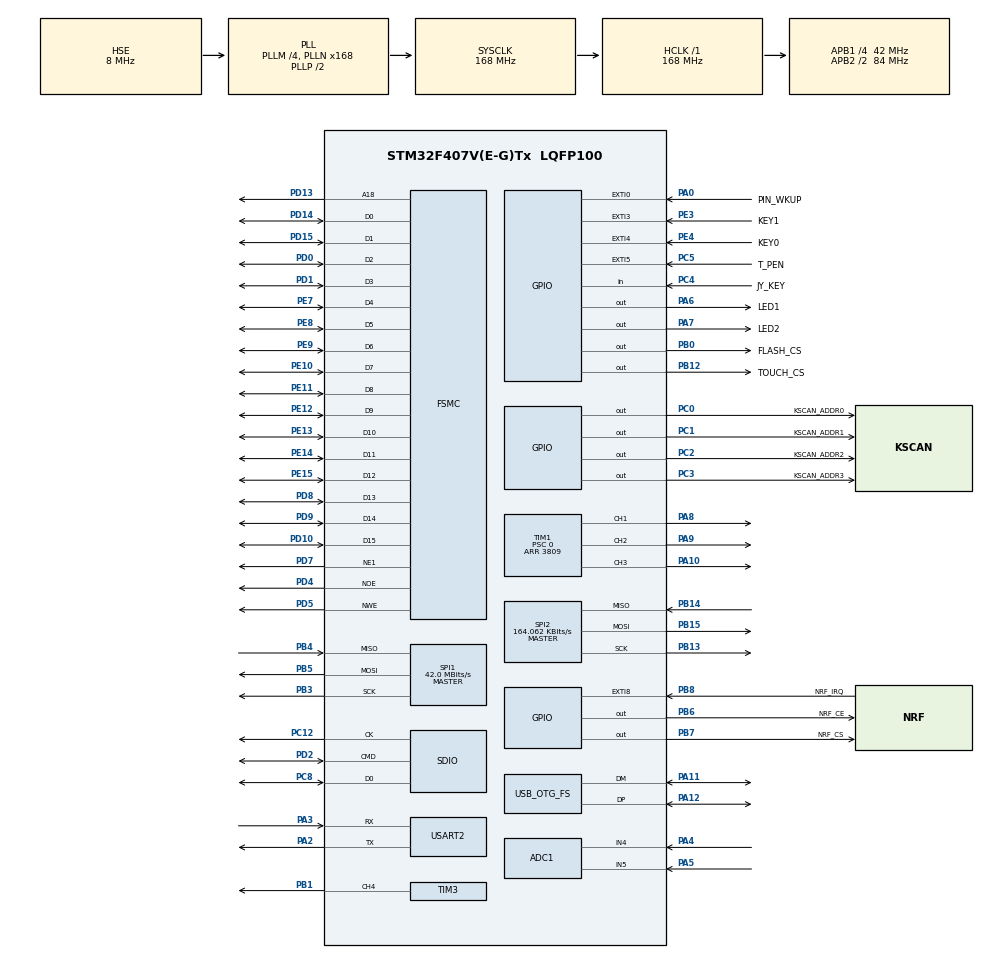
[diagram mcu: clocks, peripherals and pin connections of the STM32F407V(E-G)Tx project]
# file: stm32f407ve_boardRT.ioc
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ADC1.Channel-6\#ChannelRegularConversion=ADC_CHANNEL_4
ADC1.Channel-7\#ChannelRegularConversion=ADC_CHANNEL_5
ADC1.Channel-8\#ChannelRegularConversion=ADC_CHANNEL_TEMPSENSOR
ADC1.Channel-9\#ChannelRegularConversion=ADC_CHANNEL_VREFINT
ADC1.ClockPrescaler=ADC_CLOCK_SYNC_PCLK_DIV8
ADC1.ContinuousConvMode=ENABLE
ADC1.DMAContinuousRequests=ENABLE
ADC1.EOCSelection=ADC_EOC_SEQ_CONV
ADC1.NbrOfConversion=4
ADC1.NbrOfConversionFlag=1
ADC1.Rank-6\#ChannelRegularConversion=1
ADC1.Rank-7\#ChannelRegularConversion=2
ADC1.Rank-8\#ChannelRegularConversion=3
ADC1.Rank-9\#ChannelRegularConversion=4
ADC1.SamplingTime-6\#ChannelRegularConversion=ADC_SAMPLETIME_480CYCLES
ADC1.SamplingTime-7\#ChannelRegularConversion=ADC_SAMPLETIME_480CYCLES
ADC1.SamplingTime-8\#ChannelRegularConversion=ADC_SAMPLETIME_480CYCLES
ADC1.SamplingTime-9\#ChannelRegularConversion=ADC_SAMPLETIME_480CYCLES
ADC1.master=1
Dma.ADC1.0.Direction=DMA_PERIPH_TO_MEMORY
Dma.ADC1.0.FIFOMode=DMA_FIFOMODE_DISABLE
Dma.ADC1.0.Instance=DMA2_Stream0
Dma.ADC1.0.MemDataAlignment=DMA_MDATAALIGN_HALFWORD
Dma.ADC1.0.MemInc=DMA_MINC_ENABLE
Dma.ADC1.0.Mode=DMA_CIRCULAR
Dma.ADC1.0.PeriphDataAlignment=DMA_PDATAALIGN_HALFWORD
Dma.ADC1.0.PeriphInc=DMA_PINC_DISABLE
Dma.ADC1.0.Priority=DMA_PRIORITY_LOW
Dma.Request0=ADC1
Dma.Request1=TIM1_CH1
Dma.Request2=TIM1_CH2
Dma.TIM1_CH1.1.Direction=DMA_MEMORY_TO_PERIPH
Dma.TIM1_CH1.1.FIFOMode=DMA_FIFOMODE_DISABLE
Dma.TIM1_CH1.1.Instance=DMA2_Stream1
Dma.TIM1_CH1.1.MemDataAlignment=DMA_MDATAALIGN_HALFWORD
Dma.TIM1_CH1.1.MemInc=DMA_MINC_ENABLE
Dma.TIM1_CH1.1.Mode=DMA_CIRCULAR
Dma.TIM1_CH1.1.PeriphDataAlignment=DMA_PDATAALIGN_HALFWORD
Dma.TIM1_CH1.1.PeriphInc=DMA_PINC_DISABLE
Dma.TIM1_CH1.1.Priority=DMA_PRIORITY_HIGH
Dma.TIM1_CH2.2.Direction=DMA_MEMORY_TO_PERIPH
Dma.TIM1_CH2.2.FIFOMode=DMA_FIFOMODE_DISABLE
Dma.TIM1_CH2.2.Instance=DMA2_Stream2
Dma.TIM1_CH2.2.MemDataAlignment=DMA_MDATAALIGN_HALFWORD
Dma.TIM1_CH2.2.MemInc=DMA_MINC_ENABLE
Dma.TIM1_CH2.2.Mode=DMA_CIRCULAR
Dma.TIM1_CH2.2.PeriphDataAlignment=DMA_PDATAALIGN_HALFWORD
Dma.TIM1_CH2.2.PeriphInc=DMA_PINC_DISABLE
Dma.TIM1_CH2.2.Priority=DMA_PRIORITY_HIGH
FATFS._FS_EXFAT=0
FATFS._FS_RPATH=1
FATFS._USE_FORWARD=0
FATFS._USE_LFN=2
FSMC.AccessMode1=FSMC_ACCESS_MODE_A
FSMC.AddressSetupTime1=1
FSMC.BusTurnAroundDuration1=0
FSMC.DataSetupTime1=15
FSMC.ExtendedAddressSetupTime1=2
FSMC.ExtendedBusTurnAroundDuration1=0
FSMC.ExtendedDataSetupTime1=5
FSMC.ExtendedMode1=FSMC_EXTENDED_MODE_ENABLE
Mcu.Family=STM32F4
Mcu.Name=STM32F407V(E-G)Tx
Mcu.Package=LQFP100
NVIC.DMA2_Stream0_IRQn=true\:0\:0\:true\:true\:true\:1\:false
NVIC.DMA2_Stream1_IRQn=true\:0\:0\:false\:true\:true\:2\:false
NVIC.DMA2_Stream2_IRQn=true\:0\:0\:false\:true\:true\:3\:false
NVIC.EXTI0_IRQn=true\:0\:0\:true\:false\:true\:true
NVIC.EXTI3_IRQn=true\:0\:0\:true\:false\:true\:true
NVIC.EXTI4_IRQn=true\:0\:0\:true\:false\:true\:true
NVIC.EXTI9_5_IRQn=true\:0\:0\:true\:false\:true\:true
NVIC.OTG_FS_IRQn=true\:0\:0\:true\:false\:true\:false
NVIC.PriorityGroup=NVIC_PRIORITYGROUP_4
NVIC.SDIO_IRQn=true\:0\:0\:false\:false\:true\:true
NVIC.TIM2_IRQn=true\:0\:0\:false\:false\:true\:false
NVIC.TIM3_IRQn=true\:0\:0\:true\:true\:true\:4\:true
NVIC.TimeBase=TIM2_IRQn
NVIC.TimeBaseIP=TIM2
PA0-WKUP.GPIO_Label=PIN_WKUP
PA0-WKUP.GPIO_PuPd=GPIO_PULLDOWN
PA0-WKUP.Signal=GPXTI0
PA10.Signal=S_TIM1_CH3
PA11.Mode=Device_Only
PA11.Signal=USB_OTG_FS_DM
PA12.Mode=Device_Only
PA12.Signal=USB_OTG_FS_DP
PA13.Mode=Serial_Wire
PA13.Signal=SYS_JTMS-SWDIO
PA14.Mode=Serial_Wire
PA14.Signal=SYS_JTCK-SWCLK
PA2.Mode=Asynchronous
PA2.Signal=USART2_TX
PA3.Mode=Asynchronous
PA3.Signal=USART2_RX
PA4.Signal=ADCx_IN4
PA5.Signal=ADCx_IN5
PA6.GPIO_Label=LED1
PA6.GPIO_ModeDefaultOutputPP=GPIO_MODE_OUTPUT_OD
PA6.Signal=GPIO_Output
PA7.GPIO_Label=LED2
PA7.GPIO_ModeDefaultOutputPP=GPIO_MODE_OUTPUT_OD
PA7.Signal=GPIO_Output
PA8.Signal=S_TIM1_CH1
PA9.Signal=S_TIM1_CH2
PB0.GPIO_Label=FLASH_CS
PB0.Signal=GPIO_Output
PB1.Signal=S_TIM3_CH4
PB12.GPIO_Label=TOUCH_CS
PB12.GPIO_Speed=GPIO_SPEED_FREQ_VERY_HIGH
PB12.PinState=GPIO_PIN_SET
PB12.Signal=GPIO_Output
PB13.Mode=Full_Duplex_Master
PB13.Signal=SPI2_SCK
PB14.Mode=Full_Duplex_Master
PB14.Signal=SPI2_MISO
PB15.Mode=Full_Duplex_Master
PB15.Signal=SPI2_MOSI
PB3.Mode=Full_Duplex_Master
PB3.Signal=SPI1_SCK
PB4.Mode=Full_Duplex_Master
PB4.Signal=SPI1_MISO
PB5.Mode=Full_Duplex_Master
PB5.Signal=SPI1_MOSI
PB6.GPIO_Label=NRF_CE
PB6.Signal=GPIO_Output
PB7.GPIO_Label=NRF_CS
PB7.Signal=GPIO_Output
PB8.GPIO_Label=NRF_IRQ
PB8.GPIO_ModeDefaultEXTI=GPIO_MODE_IT_FALLING
PB8.GPIO_PuPd=GPIO_PULLUP
PB8.Signal=GPXTI8
PC0.GPIO_Label=KSCAN_ADDR0
PC0.PinState=GPIO_PIN_SET
PC0.Signal=GPIO_Output
PC1.GPIO_Label=KSCAN_ADDR1
PC1.PinState=GPIO_PIN_SET
PC1.Signal=GPIO_Output
PC12.Mode=SD_1_bit
PC12.Signal=SDIO_CK
PC14-OSC32_IN.Mode=LSE-External-Oscillator
PC14-OSC32_IN.Signal=RCC_OSC32_IN
PC15-OSC32_OUT.Mode=LSE-External-Oscillator
PC15-OSC32_OUT.Signal=RCC_OSC32_OUT
PC2.GPIO_Label=KSCAN_ADDR2
PC2.PinState=GPIO_PIN_SET
PC2.Signal=GPIO_Output
PC3.GPIO_Label=KSCAN_ADDR3
PC3.PinState=GPIO_PIN_SET
PC3.Signal=GPIO_Output
PC4.GPIO_Label=JY_KEY
PC4.GPIO_PuPd=GPIO_PULLUP
PC4.Signal=GPIO_Input
PC5.GPIO_Label=T_PEN
PC5.GPIO_ModeDefaultEXTI=GPIO_MODE_IT_FALLING
PC5.GPIO_PuPd=GPIO_PULLUP
PC5.Signal=GPXTI5
PC8.Mode=SD_1_bit
PC8.Signal=SDIO_D0
PD0.GPIO_Speed_High_Default=GPIO_SPEED_FREQ_HIGH
PD0.Mode=16b-d1
PD0.Signal=FSMC_D2
PD1.GPIO_Speed_High_Default=GPIO_SPEED_FREQ_HIGH
PD1.Mode=16b-d1
PD1.Signal=FSMC_D3
PD10.GPIO_Speed_High_Default=GPIO_SPEED_FREQ_HIGH
PD10.Mode=16b-d1
PD10.Signal=FSMC_D15
PD13.GPIO_Speed_High_Default=GPIO_SPEED_FREQ_HIGH
PD13.Mode=A18_1
PD13.Signal=FSMC_A18
PD14.GPIO_Speed_High_Default=GPIO_SPEED_FREQ_HIGH
PD14.Mode=16b-d1
PD14.Signal=FSMC_D0
PD15.GPIO_Speed_High_Default=GPIO_SPEED_FREQ_HIGH
PD15.Mode=16b-d1
PD15.Signal=FSMC_D1
PD2.Mode=SD_1_bit
PD2.Signal=SDIO_CMD
PD4.GPIO_Speed_High_Default=GPIO_SPEED_FREQ_HIGH
PD4.Mode=Lcd1
PD4.Signal=FSMC_NOE
PD5.GPIO_Speed_High_Default=GPIO_SPEED_FREQ_HIGH
PD5.Mode=Lcd1
PD5.Signal=FSMC_NWE
PD7.GPIO_Speed_High_Default=GPIO_SPEED_FREQ_HIGH
PD7.Mode=NorPsramChipSelect1_1
PD7.Signal=FSMC_NE1
PD8.GPIO_Speed_High_Default=GPIO_SPEED_FREQ_HIGH
PD8.Mode=16b-d1
PD8.Signal=FSMC_D13
PD9.GPIO_Speed_High_Default=GPIO_SPEED_FREQ_HIGH
PD9.Mode=16b-d1
PD9.Signal=FSMC_D14
PE10.GPIO_Speed_High_Default=GPIO_SPEED_FREQ_HIGH
PE10.Mode=16b-d1
PE10.Signal=FSMC_D7
PE11.GPIO_Speed_High_Default=GPIO_SPEED_FREQ_HIGH
PE11.Mode=16b-d1
PE11.Signal=FSMC_D8
PE12.GPIO_Speed_High_Default=GPIO_SPEED_FREQ_HIGH
PE12.Mode=16b-d1
PE12.Signal=FSMC_D9
PE13.GPIO_Speed_High_Default=GPIO_SPEED_FREQ_HIGH
PE13.Mode=16b-d1
PE13.Signal=FSMC_D10
PE14.GPIO_Speed_High_Default=GPIO_SPEED_FREQ_HIGH
PE14.Mode=16b-d1
PE14.Signal=FSMC_D11
PE15.GPIO_Speed_High_Default=GPIO_SPEED_FREQ_HIGH
PE15.Mode=16b-d1
PE15.Signal=FSMC_D12
PE3.GPIO_Label=KEY1
PE3.GPIO_ModeDefaultEXTI=GPIO_MODE_IT_FALLING
PE3.GPIO_PuPd=GPIO_PULLUP
PE3.Signal=GPXTI3
PE4.GPIO_Label=KEY0
PE4.GPIO_ModeDefaultEXTI=GPIO_MODE_IT_FALLING
PE4.GPIO_PuPd=GPIO_PULLUP
PE4.Signal=GPXTI4
PE7.GPIO_Speed_High_Default=GPIO_SPEED_FREQ_HIGH
PE7.Mode=16b-d1
PE7.Signal=FSMC_D4
PE8.GPIO_Speed_High_Default=GPIO_SPEED_FREQ_HIGH
PE8.Mode=16b-d1
PE8.Signal=FSMC_D5
PE9.GPIO_Speed_High_Default=GPIO_SPEED_FREQ_HIGH
PE9.Mode=16b-d1
PE9.Signal=FSMC_D6
PH0-OSC_IN.Mode=HSE-External-Oscillator
PH0-OSC_IN.Signal=RCC_OSC_IN
PH1-OSC_OUT.Mode=HSE-External-Oscillator
PH1-OSC_OUT.Signal=RCC_OSC_OUT
ProjectManager.HeapSize=0x200
ProjectManager.StackSize=0x400
ProjectManager.TargetToolchain=SW4STM32
RCC.48MHZClocksFreq_Value=48000000
RCC.AHBFreq_Value=168000000
RCC.APB1CLKDivider=RCC_HCLK_DIV4
RCC.APB1Freq_Value=42000000
RCC.APB1TimFreq_Value=84000000
RCC.APB2CLKDivider=RCC_HCLK_DIV2
RCC.APB2Freq_Value=84000000
RCC.APB2TimFreq_Value=168000000
RCC.CortexFreq_Value=168000000
RCC.HCLKFreq_Value=168000000
RCC.HSE_VALUE=8000000
RCC.HSI_VALUE=16000000
RCC.PLLM=4
RCC.PLLN=168
RCC.PLLQ=7
RCC.RCC_RTC_Clock_Source=RCC_RTCCLKSOURCE_LSE
RCC.RCC_RTC_Clock_SourceVirtual=RCC_RTCCLKSOURCE_LSE
RCC.SYSCLKFreq_VALUE=168000000
RCC.SYSCLKSource=RCC_SYSCLKSOURCE_PLLCLK
RCC.VCOOutputFreq_Value=336000000
SDIO.ClockBypass=SDIO_CLOCK_BYPASS_DISABLE
SDIO.ClockDiv=8
SDIO.HardwareFlowControl=SDIO_HARDWARE_FLOW_CONTROL_ENABLE
SH.ADCx_IN4.0=ADC1_IN4,IN4
SH.ADCx_IN5.0=ADC1_IN5,IN5
SH.S_TIM1_CH1.0=TIM1_CH1,PWM Generation1 CH1
SH.S_TIM1_CH2.0=TIM1_CH2,PWM Generation2 CH2
SH.S_TIM1_CH3.0=TIM1_CH3,PWM Generation3 CH3
SH.S_TIM3_CH4.0=TIM3_CH4,PWM Generation4 CH4
SPI1.CalculateBaudRate=42.0 MBits/s
SPI1.Direction=SPI_DIRECTION_2LINES
SPI1.Mode=SPI_MODE_MASTER
SPI1.VirtualType=VM_MASTER
SPI2.BaudRatePrescaler=SPI_BAUDRATEPRESCALER_256
SPI2.CalculateBaudRate=164.062 KBits/s
SPI2.Direction=SPI_DIRECTION_2LINES
SPI2.Mode=SPI_MODE_MASTER
SPI2.VirtualType=VM_MASTER
TIM1.Channel-PWM\ Generation1\ CH1=TIM_CHANNEL_1
TIM1.Channel-PWM\ Generation2\ CH2=TIM_CHANNEL_2
TIM1.Channel-PWM\ Generation3\ CH3=TIM_CHANNEL_3
TIM1.Period=3809
TIM1.Prescaler=0
TIM3.Channel-PWM\ Generation4\ CH4=TIM_CHANNEL_4
TIM3.Period=1000-1
TIM3.Prescaler=84-1
TIM3.Pulse-PWM\ Generation4\ CH4=500-1
USART2.VirtualMode=VM_ASYNC
USB_DEVICE.CLASS_NAME_FS=MSC
USB_DEVICE.VirtualMode-MSC_FS=Msc
USB_DEVICE.VirtualModeFS=Msc_FS
USB_OTG_FS.VirtualMode=Device_Only
VP_ADC1_TempSens_Input.Mode=IN-TempSens
VP_ADC1_Vref_Input.Mode=IN-Vrefint
VP_FATFS_VS_SDIO.Mode=SDIO
VP_RTC_VS_RTC_Activate.Mode=RTC_Enabled
VP_RTC_VS_RTC_Calendar.Mode=RTC_Calendar
VP_SYS_VS_tim2.Mode=TIM2
VP_TIM1_VS_ClockSourceINT.Mode=Internal
VP_TIM3_VS_ClockSourceINT.Mode=Internal
VP_USB_DEVICE_VS_USB_DEVICE_MSC_FS.Mode=MSC_FS
board=stm32f407ve_board

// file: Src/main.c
/* USER CODE BEGIN Header */
/**
  ******************************************************************************
  * @file           : main.c
  * @brief          : Main program body
  ******************************************************************************
  * This notice applies to any and all portions of this file
  * that are not between comment pairs USER CODE BEGIN and
  * USER CODE END. Other portions of this file, whether
  * inserted by the user or by software development tools
  * are owned by their respective copyright owners.
  *
  * Copyright (c) 2019 STMicroelectronics International N.V.
  * All rights reserved.
  *
  * Redistribution and use in source and binary forms, with or without
  * modification, are permitted, provided that the following conditions are met:
  *
  * 1. Redistribution of source code must retain the above copyright notice,
  *    this list of conditions and the following disclaimer.
  * 2. Redistributions in binary form must reproduce the above copyright notice,
  *    this list of conditions and the following disclaimer in the documentation
  *    and/or other materials provided with the distribution.
  * 3. Neither the name of STMicroelectronics nor the names of other
  *    contributors to this software may be used to endorse or promote products
  *    derived from this software without specific written permission.
  * 4. This software, including modifications and/or derivative works of this
  *    software, must execute solely and exclusively on microcontroller or
  *    microprocessor devices manufactured by or for STMicroelectronics.
  * 5. Redistribution and use of this software other than as permitted under
  *    this license is void and will automatically terminate your rights under
  *    this license.
  *
  * THIS SOFTWARE IS PROVIDED BY STMICROELECTRONICS AND CONTRIBUTORS "AS IS"
  * AND ANY EXPRESS, IMPLIED OR STATUTORY WARRANTIES, INCLUDING, BUT NOT
  * LIMITED TO, THE IMPLIED WARRANTIES OF MERCHANTABILITY, FITNESS FOR A
  * PARTICULAR PURPOSE AND NON-INFRINGEMENT OF THIRD PARTY INTELLECTUAL PROPERTY
  * RIGHTS ARE DISCLAIMED TO THE FULLEST EXTENT PERMITTED BY LAW. IN NO EVENT
  * SHALL STMICROELECTRONICS OR CONTRIBUTORS BE LIABLE FOR ANY DIRECT, INDIRECT,
  * INCIDENTAL, SPECIAL, EXEMPLARY, OR CONSEQUENTIAL DAMAGES (INCLUDING, BUT NOT
  * LIMITED TO, PROCUREMENT OF SUBSTITUTE GOODS OR SERVICES; LOSS OF USE, DATA,
  * OR PROFITS; OR BUSINESS INTERRUPTION) HOWEVER CAUSED AND ON ANY THEORY OF
  * LIABILITY, WHETHER IN CONTRACT, STRICT LIABILITY, OR TORT (INCLUDING
  * NEGLIGENCE OR OTHERWISE) ARISING IN ANY WAY OUT OF THE USE OF THIS SOFTWARE,
  * EVEN IF ADVISED OF THE POSSIBILITY OF SUCH DAMAGE.
  *
  ******************************************************************************
  */
/* USER CODE END Header */

#include "main.h"
#include "fatfs.h"
#include "usb_device.h"

/* USER CODE BEGIN Includes */
#include <stdio.h>
#include <stdarg.h>
#include <string.h>
#include <math.h>
#include "ili9341.h"
#include "tm_stm32f1_nrf24l01.h"

/* USER CODE END Includes */

ADC_HandleTypeDef hadc1;
DMA_HandleTypeDef hdma_adc1;

RTC_HandleTypeDef hrtc;

SD_HandleTypeDef hsd;

SPI_HandleTypeDef hspi1;
SPI_HandleTypeDef hspi2;

TIM_HandleTypeDef htim3;

UART_HandleTypeDef huart2;

SRAM_HandleTypeDef hsram1;

/* USER CODE BEGIN PV */
/* Private variables ---------------------------------------------------------*/
void vprint(const char *fmt, va_list argp)
{
    char string[300];
    if(0 < vsprintf(string,fmt,argp)) // build string
    {
        HAL_UART_Transmit(&huart2, (uint8_t*)string, strlen(string), 0xffffff); // send message via UART
       //CDC_Transmit_FS((uint8_t*)string, strlen(string));
    }
}
void mprintf(const char *fmt, ...) // custom printf() function
{
    va_list argp;
    va_start(argp, fmt);
    vprint(fmt, argp);
    va_end(argp);
}
#define HSAMPLES 4
#define NCHAN    4
struct sADC_BUFF
{
	uint16_t V_UD; // 0.47/1.47
	uint16_t V_LR; // 1.0/2.0
	uint16_t VTEMP;
	uint16_t V_REF;
} ADC_BUFF[HSAMPLES];

uint16_t getADC_UD()
{
	return ADC_BUFF[0].V_UD;
}
uint16_t getADC_LR()
{
	return ADC_BUFF[0].V_LR;
}

#define  SPI2_TIMEOUT 10
void SPI2_SEND(uint8_t* data,int count)
{
	HAL_SPI_Transmit(&hspi2,data,count,SPI2_TIMEOUT);
}
void SPI2_SEND_RECI(uint8_t* data,int count,uint8_t* in_data)
{
	HAL_SPI_TransmitReceive(&hspi2,data,in_data,count,SPI2_TIMEOUT);
}
void setBK_imp(int perc)
{
	__HAL_TIM_SET_COMPARE(&htim3, TIM_CHANNEL_4,(perc*10));
}

volatile uint32_t tim3_intrr  = 0;
volatile uint16_t keyMatrix  = 0;
uint16_t scanJSK()
{
	return keyMatrix;
}
volatile int keyAddLine = 0;
void clearKey()
{
	keyMatrix = 0;
}
void ScanKeyOnTimer3()
{
	tim3_intrr++;
	const uint32_t PORTS[][2] =
	{
		{0,0},
		{KSCAN_ADDR3_GPIO_Port,KSCAN_ADDR3_Pin},
		{KSCAN_ADDR2_GPIO_Port,KSCAN_ADDR2_Pin},
		{KSCAN_ADDR1_GPIO_Port,KSCAN_ADDR1_Pin},
		{KSCAN_ADDR0_GPIO_Port,KSCAN_ADDR0_Pin}
	};
	if(keyAddLine<5)
	{
		int port = PORTS[keyAddLine][0];
		int pin  = PORTS[keyAddLine][1];
		uint16_t mt = 0;
		HAL_GPIO_TogglePin(LED2_GPIO_Port, LED2_Pin);
		if(port) HAL_GPIO_WritePin(port,pin,GPIO_PIN_RESET);
		HAL_GPIO_TogglePin(LED2_GPIO_Port, LED2_Pin);
		mt <<= 1;
		mt|= (HAL_GPIO_ReadPin(KEY1_GPIO_Port, KEY1_Pin)==GPIO_PIN_RESET)?1:0;
		mt <<= 1;
		mt|= (HAL_GPIO_ReadPin(KEY0_GPIO_Port, KEY0_Pin)==GPIO_PIN_RESET)?1:0;

		HAL_GPIO_TogglePin(LED2_GPIO_Port, LED2_Pin);
		if(port) HAL_GPIO_WritePin(port,pin,GPIO_PIN_SET);
		HAL_GPIO_TogglePin(LED2_GPIO_Port, LED2_Pin);

		uint16_t mask = 3<< (keyAddLine*2);
		mt <<=  (keyAddLine*2);

		keyMatrix =(keyMatrix& ~mask)|mt;

	}
	else
	{
		uint16_t mt = 0;
		if(HAL_GPIO_ReadPin(PIN_WKUP_GPIO_Port, PIN_WKUP_Pin))
		{
			mt |=  1;
		}
		mt <<= 1;
		if(!HAL_GPIO_ReadPin(T_PEN_GPIO_Port, T_PEN_Pin))
		{
			mt |=  1;
		}
		uint16_t mask = 3<< (keyAddLine*2);
		mt <<=  (keyAddLine*2);

		keyMatrix =(keyMatrix& ~mask)|mt;

	}

	keyAddLine++;

    if(keyAddLine>=6)
    {
    	keyAddLine = 0;
    }

}
void init_Sinclair();
/* USER CODE END PV */

void SystemClock_Config(void);
static void MX_GPIO_Init(void);
static void MX_DMA_Init(void);
static void MX_RTC_Init(void);
static void MX_SDIO_SD_Init(void);
static void MX_SPI1_Init(void);
static void MX_FSMC_Init(void);
static void MX_SPI2_Init(void);
static void MX_ADC1_Init(void);
static void MX_TIM1_Init(void);
static void MX_USART2_UART_Init(void);
static void MX_TIM3_Init(void);
static void MX_NVIC_Init(void);

/* USER CODE BEGIN 0 */
#define N_SIZE_BITS (11)
#define N_SIZE (1<<N_SIZE_BITS)
#define R_SIZE_BITS (12)
#define R_SIZE (1<<R_SIZE_BITS)

//uint16_t VoiceBuff0s[N_SIZE];

uint16_t VoiceBuff0[N_SIZE];
uint16_t VoiceBuff1[N_SIZE];

uint16_t VoiceBuff0T[R_SIZE];
uint16_t VoiceBuff1T[R_SIZE];

volatile int sound_head = 0;
volatile int sound_tail = 0;

int sound_size()
{
	return (sound_head+R_SIZE-sound_tail)&(R_SIZE-1);
}
int waitFor()
{
	int cntWait = 0;
	while(((sound_head+R_SIZE-sound_tail)&(R_SIZE-1))>R_SIZE/2)
	{
		HAL_Delay(1);
		cntWait++;
	}
	return cntWait;
}
void push_pair(uint16_t Left,uint16_t Right)
{
	//waitFor();
	VoiceBuff0T[sound_head] = Left;
	VoiceBuff1T[sound_head] = Right;
	sound_head = (sound_head+1)&(R_SIZE-1);
}
void cleanAudioBuffer()
{
	waitFor();
	for(int k=0;k<R_SIZE;k++)
	{
#ifdef DAC_OUTPUT
			push_pair(2048,2048);
#else
			push_pair(MAX_VOLUME/2,MAX_VOLUME/2);
#endif
	}
}

void TIM1_TC1()
{
	//cnt0++;
	int k;
	for(k=N_SIZE/2;k<N_SIZE;k++)
	{
		VoiceBuff0[k] = VoiceBuff0T[sound_tail];
		VoiceBuff1[k] = VoiceBuff1T[sound_tail];
		sound_tail = (sound_tail+1)&(R_SIZE-1);
	}
}
void TIM1_HT1()
{
	//cnt1++;
	int k;
	for(k=0;k<N_SIZE/2;k++)
	{
		VoiceBuff0[k] = VoiceBuff0T[sound_tail];
		VoiceBuff1[k] = VoiceBuff1T[sound_tail];
		sound_tail = (sound_tail+1)&(R_SIZE-1);
	}
}
void TIM1_TE1()
{
}
void TIM1_TC2()
{
}
void TIM1_HT2()
{
}
void TIM1_TE2()
{
}

void init_timerLL()
{
	  LL_AHB1_GRP1_EnableClock(LL_AHB1_GRP1_PERIPH_DMA2);
	  LL_DMA_ConfigAddresses(DMA2, LL_DMA_STREAM_1, (uint32_t)&VoiceBuff0[0], (uint32_t)&TIM1->CCR1, LL_DMA_GetDataTransferDirection(DMA2, LL_DMA_STREAM_2));
	  LL_DMA_SetDataLength(DMA2, LL_DMA_STREAM_1, N_SIZE);
	  LL_DMA_EnableIT_TC(DMA2, LL_DMA_STREAM_1);
	  LL_DMA_EnableIT_TE(DMA2, LL_DMA_STREAM_1);
	  LL_DMA_EnableIT_HT(DMA2, LL_DMA_STREAM_1);
	  mprintf("1 \r\n");

	  LL_DMA_ConfigAddresses(DMA2, LL_DMA_STREAM_2, (uint32_t)&VoiceBuff1[0], (uint32_t)&TIM1->CCR2, LL_DMA_GetDataTransferDirection(DMA2, LL_DMA_STREAM_2));
	  LL_DMA_SetDataLength(DMA2, LL_DMA_STREAM_2, N_SIZE);
	  LL_DMA_EnableIT_TC(DMA2, LL_DMA_STREAM_2);
	  LL_DMA_EnableIT_HT(DMA2, LL_DMA_STREAM_2);
	  LL_DMA_EnableIT_TE(DMA2, LL_DMA_STREAM_2);
	  mprintf("2 \r\n");

	  /***************************/
	  /* Enable the DMA transfer */
	  /***************************/
	  LL_DMA_EnableStream(DMA2, LL_DMA_STREAM_1);
	  LL_DMA_EnableStream(DMA2, LL_DMA_STREAM_2);
	  mprintf("3 \r\n");

	  LL_TIM_EnableDMAReq_UPDATE(TIM1);

	  LL_TIM_EnableDMAReq_CC1(TIM1);
	  LL_TIM_EnableDMAReq_CC2(TIM1);

	  mprintf("4 \r\n");
	  LL_TIM_CC_EnableChannel(TIM1, LL_TIM_CHANNEL_CH1);
	  LL_TIM_CC_EnableChannel(TIM1, LL_TIM_CHANNEL_CH2);
	  LL_TIM_CC_EnableChannel(TIM1, LL_TIM_CHANNEL_CH3);

	  LL_TIM_OC_EnablePreload(TIM1, LL_TIM_CHANNEL_CH1);
	  LL_TIM_OC_EnablePreload(TIM1, LL_TIM_CHANNEL_CH2);
	  LL_TIM_CC_EnableChannel(TIM1, LL_TIM_CHANNEL_CH3);

	  mprintf("5 \r\n");
	  LL_TIM_EnableAllOutputs(TIM1);
	  LL_TIM_EnableCounter(TIM1);
	  //~ LL_TIM_EnableDMAReq_CC1(TIM2);
	  mprintf("6 \r\n");
	 // LL_TIM_GenerateEvent_CC1(TIM4);
	 // LL_TIM_GenerateEvent_CC2(TIM4);

	  mprintf("7 \r\n");
	  //~ LL_TIM_GenerateEvent_CC2(TIM2);
	  //~ LL_TIM_GenerateEvent_CC2(TIM2);
	  LL_TIM_GenerateEvent_UPDATE(TIM1);
//		LL_TIM_EnableCounter(TIM2);
//		LL_TIM_EnableAllOutputs(TIM2);

}
int  volume_perc = 50;
void setVolume0(int percent)
{
	volume_perc = percent;
	LL_TIM_OC_SetCompareCH3(TIM1,MAX_VOLUME*percent/100);
}

int getVolume0()
{
	return volume_perc;
}

//typedef void (*SignalHandler)(int signum);
typedef int  (*dispathFunction)(struct SYS_EVENT* ev);

int dummyFunction(struct SYS_EVENT* ev)
{
	mprintf("dummy mess   = %x\r\n",ev->message);
	mprintf("dummy param1 = %x\r\n",ev->param1);
	mprintf("dummy param2 = %x\r\n",ev->param2);
	return 0;
}

dispathFunction currFunc = &dummyFunction;
#define stackFuncSize 16
dispathFunction stackFunc[stackFuncSize];

int stackFuncP = 0;

void pushMenuFunc(void*fnk)
{
	if(stackFuncP<stackFuncSize-2)
	{
		stackFunc[stackFuncP] = fnk;
		stackFuncP++;
	}
}

dispathFunction popMenuFunc()
{
	if(stackFuncP>0)
	{
		stackFuncP--;
	}
	currFunc = stackFunc[stackFuncP];
	return currFunc;
}

void setCurrentFunc(void*fnk)
{
	pushMenuFunc(currFunc);
	currFunc = fnk;
}

/* USER CODE END 0 */

int main(void)
{

  /* MCU Configuration--------------------------------------------------------*/

  /* Reset of all peripherals, Initializes the Flash interface and the Systick. */
  HAL_Init();

  /* Configure the system clock */
  SystemClock_Config();

  /* USER CODE BEGIN SysInit */
  __HAL_RCC_PWR_CLK_ENABLE();
  //__HAL_RCC_BKP_CLK_ENABLE();
  HAL_PWR_EnableBkUpAccess();

  /* USER CODE END SysInit */

  /* Initialize all configured peripherals */
  MX_GPIO_Init();
  MX_DMA_Init();
  MX_RTC_Init();
  MX_SDIO_SD_Init();
  MX_SPI1_Init();
  MX_FATFS_Init();
  MX_USB_DEVICE_Init();
  MX_FSMC_Init();
  MX_SPI2_Init();
  MX_ADC1_Init();
  MX_TIM1_Init();
  MX_USART2_UART_Init();
  MX_TIM3_Init();

  /* Initialize interrupts */
  MX_NVIC_Init();
  /* USER CODE BEGIN 2 */
	if(HAL_TIM_PWM_Start_IT(&htim3, TIM_CHANNEL_4)!= HAL_OK)
	{
		mprintf("set TIM1 TIM_CHANNEL_3 error\r\n");
	}
	memset(&ADC_BUFF[0],0,sizeof(ADC_BUFF));
	HAL_ADC_Start_DMA(&hadc1, (uint32_t*)ADC_BUFF, HSAMPLES*NCHAN);
	init_timerLL();
	LCD_init();
	//ili9341_DisplayOn();
	LCD_setRotation(LANDSCAPE_FLIP);
	uint32_t trt = HAL_GetTick();
	int k;
	for(k=0;k<2;k++)
	{
		LCD_fillRect(0, 0, LCD_getWidth(), LCD_getHeight(), BLACK);
		LCD_fillRect(0, 0, LCD_getWidth(), LCD_getHeight(), WHITE);

		//LCD_fillRect2(0, 0, LCD_getWidth(), LCD_getHeight(), BLACK,BLACK);
		//LCD_fillRect2(0, 0, LCD_getWidth(), LCD_getHeight(), WHITE,WHITE);
	}
	//TP_init_default();
	setBK_imp(99);
	mprintf("clear screen %d ms\r\n",(HAL_GetTick()-trt)/4);
	char numBuff[0x10];
	SD_initialize(0);
	init_Sinclair();
//	int nrfOnline = nRF24_Check();
//	sprintf(numBuff,"nrfOnline %d\r\n",nrfOnline);
//	mprintf(numBuff);
//	LCD_Draw_Text(numBuff,100,100, GREEN, 1,BLACK);
//	nrfOnline = nRF24_Check();
//	sprintf(numBuff,"nrfOnline %d\r\n",nrfOnline);
//	mprintf(numBuff);
//	LCD_Draw_Text(numBuff,100,100, GREEN, 1,BLACK);
	//clearFullScreen();
	//readCard1();
	volatile struct SYS_EVENT event;
	event.message = MESS_OPEN;
	event.param1  = 0x1234;
	event.param2  = 0x5678;
	setCurrentFunc(&menu_dispatch);
	//stackFunc[0] = ;
	//currFunc = &menu_dispatch;

  /* USER CODE END 2 */

  /* Infinite loop */
  /* USER CODE BEGIN WHILE */
  while (1)
  {
	  //mprintf("cnt t3 %d %x %x %x\r\n ",tim3_intrr,keyMatrix,TIM3->CNT,TIM1->CNT);
	  if(keyMatrix&&(event.message==MESS_IDLE))
	  {
		  event.param1 = keyMatrix;
		  event.param2 = tim3_intrr;
		  event.message = MESS_KEYBOARD;
		  //mprintf("cnt t3 %d %x %x %x\r\n ",tim3_intrr,keyMatrix,TIM3->CNT,TIM1->CNT);
	  }
	  else
	  {
		  HAL_GPIO_TogglePin(LED1_GPIO_Port, LED1_Pin);
	  }
	  (*currFunc)(&event);
	  if(event.message==MESS_CLOSE)
	  {
		event.message = MESS_REPAINT;
		mprintf("stackFuncP B =%d\r\n",stackFuncP);
		popMenuFunc();
		mprintf("stackFuncP A b=%d\r\n",stackFuncP);
		//currFunc = &menu_dispatch;
	  }
	  //HAL_Delay(100);
    /* USER CODE END WHILE */

  }
}

void SystemClock_Config(void)
{
  RCC_OscInitTypeDef RCC_OscInitStruct = {0};
  RCC_ClkInitTypeDef RCC_ClkInitStruct = {0};
  RCC_PeriphCLKInitTypeDef PeriphClkInitStruct = {0};

  /**Configure the main internal regulator output voltage
  */
  __HAL_RCC_PWR_CLK_ENABLE();
  __HAL_PWR_VOLTAGESCALING_CONFIG(PWR_REGULATOR_VOLTAGE_SCALE1);
  /**Initializes the CPU, AHB and APB busses clocks
  */
  RCC_OscInitStruct.OscillatorType = RCC_OSCILLATORTYPE_HSE|RCC_OSCILLATORTYPE_LSE;
  RCC_OscInitStruct.HSEState = RCC_HSE_ON;
  RCC_OscInitStruct.LSEState = RCC_LSE_ON;
  RCC_OscInitStruct.PLL.PLLState = RCC_PLL_ON;
  RCC_OscInitStruct.PLL.PLLSource = RCC_PLLSOURCE_HSE;
  RCC_OscInitStruct.PLL.PLLM = 4;
  RCC_OscInitStruct.PLL.PLLN = 168;
  RCC_OscInitStruct.PLL.PLLP = RCC_PLLP_DIV2;
  RCC_OscInitStruct.PLL.PLLQ = 7;
  if (HAL_RCC_OscConfig(&RCC_OscInitStruct) != HAL_OK)
  {
    Error_Handler();
  }
  /**Initializes the CPU, AHB and APB busses clocks
  */
  RCC_ClkInitStruct.ClockType = RCC_CLOCKTYPE_HCLK|RCC_CLOCKTYPE_SYSCLK
                              |RCC_CLOCKTYPE_PCLK1|RCC_CLOCKTYPE_PCLK2;
  RCC_ClkInitStruct.SYSCLKSource = RCC_SYSCLKSOURCE_PLLCLK;
  RCC_ClkInitStruct.AHBCLKDivider = RCC_SYSCLK_DIV1;
  RCC_ClkInitStruct.APB1CLKDivider = RCC_HCLK_DIV4;
  RCC_ClkInitStruct.APB2CLKDivider = RCC_HCLK_DIV2;

  if (HAL_RCC_ClockConfig(&RCC_ClkInitStruct, FLASH_LATENCY_5) != HAL_OK)
  {
    Error_Handler();
  }
  PeriphClkInitStruct.PeriphClockSelection = RCC_PERIPHCLK_RTC;
  PeriphClkInitStruct.RTCClockSelection = RCC_RTCCLKSOURCE_LSE;
  if (HAL_RCCEx_PeriphCLKConfig(&PeriphClkInitStruct) != HAL_OK)
  {
    Error_Handler();
  }
}

/**
  * @brief NVIC Configuration.
  * @retval None
  */
static void MX_NVIC_Init(void)
{
  /* DMA2_Stream0_IRQn interrupt configuration */
  HAL_NVIC_SetPriority(DMA2_Stream0_IRQn, 0, 0);
  HAL_NVIC_EnableIRQ(DMA2_Stream0_IRQn);
  /* DMA2_Stream1_IRQn interrupt configuration */
  NVIC_SetPriority(DMA2_Stream1_IRQn, NVIC_EncodePriority(NVIC_GetPriorityGrouping(),0, 0));
  NVIC_EnableIRQ(DMA2_Stream1_IRQn);
  /* DMA2_Stream2_IRQn interrupt configuration */
  NVIC_SetPriority(DMA2_Stream2_IRQn, NVIC_EncodePriority(NVIC_GetPriorityGrouping(),0, 0));
  NVIC_EnableIRQ(DMA2_Stream2_IRQn);
  /* TIM3_IRQn interrupt configuration */
  HAL_NVIC_SetPriority(TIM3_IRQn, 0, 0);
  HAL_NVIC_EnableIRQ(TIM3_IRQn);
}

static void MX_ADC1_Init(void)
{

  ADC_ChannelConfTypeDef sConfig = {0};

  /**Configure the global features of the ADC (Clock, Resolution, Data Alignment and number of conversion)
  */
  hadc1.Instance = ADC1;
  hadc1.Init.ClockPrescaler = ADC_CLOCK_SYNC_PCLK_DIV8;
  hadc1.Init.Resolution = ADC_RESOLUTION_12B;
  hadc1.Init.ScanConvMode = ENABLE;
  hadc1.Init.ContinuousConvMode = ENABLE;
  hadc1.Init.DiscontinuousConvMode = DISABLE;
  hadc1.Init.ExternalTrigConvEdge = ADC_EXTERNALTRIGCONVEDGE_NONE;
  hadc1.Init.ExternalTrigConv = ADC_SOFTWARE_START;
  hadc1.Init.DataAlign = ADC_DATAALIGN_RIGHT;
  hadc1.Init.NbrOfConversion = 4;
  hadc1.Init.DMAContinuousRequests = ENABLE;
  hadc1.Init.EOCSelection = ADC_EOC_SEQ_CONV;
  if (HAL_ADC_Init(&hadc1) != HAL_OK)
  {
    Error_Handler();
  }
  /**Configure for the selected ADC regular channel its corresponding rank in the sequencer and its sample time.
  */
  sConfig.Channel = ADC_CHANNEL_4;
  sConfig.Rank = 1;
  sConfig.SamplingTime = ADC_SAMPLETIME_480CYCLES;
  if (HAL_ADC_ConfigChannel(&hadc1, &sConfig) != HAL_OK)
  {
    Error_Handler();
  }
  /**Configure for the selected ADC regular channel its corresponding rank in the sequencer and its sample time.
  */
  sConfig.Channel = ADC_CHANNEL_5;
  sConfig.Rank = 2;
  if (HAL_ADC_ConfigChannel(&hadc1, &sConfig) != HAL_OK)
  {
    Error_Handler();
  }
  /**Configure for the selected ADC regular channel its corresponding rank in the sequencer and its sample time.
  */
  sConfig.Channel = ADC_CHANNEL_TEMPSENSOR;
  sConfig.Rank = 3;
  if (HAL_ADC_ConfigChannel(&hadc1, &sConfig) != HAL_OK)
  {
    Error_Handler();
  }
  /**Configure for the selected ADC regular channel its corresponding rank in the sequencer and its sample time.
  */
  sConfig.Channel = ADC_CHANNEL_VREFINT;
  sConfig.Rank = 4;
  if (HAL_ADC_ConfigChannel(&hadc1, &sConfig) != HAL_OK)
  {
    Error_Handler();
  }

}

static void MX_RTC_Init(void)
{

  RTC_TimeTypeDef sTime = {0};
  RTC_DateTypeDef sDate = {0};

  /* USER CODE BEGIN RTC_Init 1 */
  hrtc.Instance = RTC;
  if(HAL_RTCEx_BKUPRead(&hrtc, RTC_BKP_DR1) != 0x32F2)
  {

  /* USER CODE END RTC_Init 1 */
  /**Initialize RTC Only
  */
  hrtc.Instance = RTC;
  hrtc.Init.HourFormat = RTC_HOURFORMAT_24;
  hrtc.Init.AsynchPrediv = 127;
  hrtc.Init.SynchPrediv = 255;
  hrtc.Init.OutPut = RTC_OUTPUT_DISABLE;
  hrtc.Init.OutPutPolarity = RTC_OUTPUT_POLARITY_HIGH;
  hrtc.Init.OutPutType = RTC_OUTPUT_TYPE_OPENDRAIN;
  if (HAL_RTC_Init(&hrtc) != HAL_OK)
  {
    Error_Handler();
  }

  /**Initialize RTC and set the Time and Date
  */
  sTime.Hours = 0x0;
  sTime.Minutes = 0x0;
  sTime.Seconds = 0x0;
  sTime.DayLightSaving = RTC_DAYLIGHTSAVING_NONE;
  sTime.StoreOperation = RTC_STOREOPERATION_RESET;
  if (HAL_RTC_SetTime(&hrtc, &sTime, RTC_FORMAT_BCD) != HAL_OK)
  {
    Error_Handler();
  }
  sDate.WeekDay = RTC_WEEKDAY_MONDAY;
  sDate.Month = RTC_MONTH_JANUARY;
  sDate.Date = 0x1;
  sDate.Year = 0x0;

  if (HAL_RTC_SetDate(&hrtc, &sDate, RTC_FORMAT_BCD) != HAL_OK)
  {
    Error_Handler();
  }
  /* USER CODE BEGIN RTC_Init 2 */
  HAL_RTCEx_BKUPWrite(&hrtc,RTC_BKP_DR1,0x32F2);
 }

  /* USER CODE END RTC_Init 2 */

}

static void MX_SDIO_SD_Init(void)
{

  hsd.Instance = SDIO;
  hsd.Init.ClockEdge = SDIO_CLOCK_EDGE_RISING;
  hsd.Init.ClockBypass = SDIO_CLOCK_BYPASS_DISABLE;
  hsd.Init.ClockPowerSave = SDIO_CLOCK_POWER_SAVE_DISABLE;
  hsd.Init.BusWide = SDIO_BUS_WIDE_1B;
  hsd.Init.HardwareFlowControl = SDIO_HARDWARE_FLOW_CONTROL_ENABLE;
  hsd.Init.ClockDiv = 8;
  /* USER CODE BEGIN SDIO_Init 2 */
  //HAL_SD_Init(&hsd);
  /* USER CODE END SDIO_Init 2 */

}

static void MX_SPI1_Init(void)
{

  /* SPI1 parameter configuration*/
  hspi1.Instance = SPI1;
  hspi1.Init.Mode = SPI_MODE_MASTER;
  hspi1.Init.Direction = SPI_DIRECTION_2LINES;
  hspi1.Init.DataSize = SPI_DATASIZE_8BIT;
  hspi1.Init.CLKPolarity = SPI_POLARITY_LOW;
  hspi1.Init.CLKPhase = SPI_PHASE_1EDGE;
  hspi1.Init.NSS = SPI_NSS_SOFT;
  hspi1.Init.BaudRatePrescaler = SPI_BAUDRATEPRESCALER_2;
  hspi1.Init.FirstBit = SPI_FIRSTBIT_MSB;
  hspi1.Init.TIMode = SPI_TIMODE_DISABLE;
  hspi1.Init.CRCCalculation = SPI_CRCCALCULATION_DISABLE;
  hspi1.Init.CRCPolynomial = 10;
  if (HAL_SPI_Init(&hspi1) != HAL_OK)
  {
    Error_Handler();
  }

}

static void MX_SPI2_Init(void)
{

  /* SPI2 parameter configuration*/
  hspi2.Instance = SPI2;
  hspi2.Init.Mode = SPI_MODE_MASTER;
  hspi2.Init.Direction = SPI_DIRECTION_2LINES;
  hspi2.Init.DataSize = SPI_DATASIZE_8BIT;
  hspi2.Init.CLKPolarity = SPI_POLARITY_LOW;
  hspi2.Init.CLKPhase = SPI_PHASE_1EDGE;
  hspi2.Init.NSS = SPI_NSS_SOFT;
  hspi2.Init.BaudRatePrescaler = SPI_BAUDRATEPRESCALER_256;
  hspi2.Init.FirstBit = SPI_FIRSTBIT_MSB;
  hspi2.Init.TIMode = SPI_TIMODE_DISABLE;
  hspi2.Init.CRCCalculation = SPI_CRCCALCULATION_DISABLE;
  hspi2.Init.CRCPolynomial = 10;
  if (HAL_SPI_Init(&hspi2) != HAL_OK)
  {
    Error_Handler();
  }

}

static void MX_TIM1_Init(void)
{

  LL_TIM_InitTypeDef TIM_InitStruct = {0};
  LL_TIM_OC_InitTypeDef TIM_OC_InitStruct = {0};
  LL_TIM_BDTR_InitTypeDef TIM_BDTRInitStruct = {0};

  LL_GPIO_InitTypeDef GPIO_InitStruct = {0};

  /* Peripheral clock enable */
  LL_APB2_GRP1_EnableClock(LL_APB2_GRP1_PERIPH_TIM1);

  /* TIM1 DMA Init */

  /* TIM1_CH1 Init */
  LL_DMA_SetChannelSelection(DMA2, LL_DMA_STREAM_1, LL_DMA_CHANNEL_6);

  LL_DMA_SetDataTransferDirection(DMA2, LL_DMA_STREAM_1, LL_DMA_DIRECTION_MEMORY_TO_PERIPH);

  LL_DMA_SetStreamPriorityLevel(DMA2, LL_DMA_STREAM_1, LL_DMA_PRIORITY_HIGH);

  LL_DMA_SetMode(DMA2, LL_DMA_STREAM_1, LL_DMA_MODE_CIRCULAR);

  LL_DMA_SetPeriphIncMode(DMA2, LL_DMA_STREAM_1, LL_DMA_PERIPH_NOINCREMENT);

  LL_DMA_SetMemoryIncMode(DMA2, LL_DMA_STREAM_1, LL_DMA_MEMORY_INCREMENT);

  LL_DMA_SetPeriphSize(DMA2, LL_DMA_STREAM_1, LL_DMA_PDATAALIGN_HALFWORD);

  LL_DMA_SetMemorySize(DMA2, LL_DMA_STREAM_1, LL_DMA_MDATAALIGN_HALFWORD);

  LL_DMA_DisableFifoMode(DMA2, LL_DMA_STREAM_1);

  /* TIM1_CH2 Init */
  LL_DMA_SetChannelSelection(DMA2, LL_DMA_STREAM_2, LL_DMA_CHANNEL_6);

  LL_DMA_SetDataTransferDirection(DMA2, LL_DMA_STREAM_2, LL_DMA_DIRECTION_MEMORY_TO_PERIPH);

  LL_DMA_SetStreamPriorityLevel(DMA2, LL_DMA_STREAM_2, LL_DMA_PRIORITY_HIGH);

  LL_DMA_SetMode(DMA2, LL_DMA_STREAM_2, LL_DMA_MODE_CIRCULAR);

  LL_DMA_SetPeriphIncMode(DMA2, LL_DMA_STREAM_2, LL_DMA_PERIPH_NOINCREMENT);

  LL_DMA_SetMemoryIncMode(DMA2, LL_DMA_STREAM_2, LL_DMA_MEMORY_INCREMENT);

  LL_DMA_SetPeriphSize(DMA2, LL_DMA_STREAM_2, LL_DMA_PDATAALIGN_HALFWORD);

  LL_DMA_SetMemorySize(DMA2, LL_DMA_STREAM_2, LL_DMA_MDATAALIGN_HALFWORD);

  LL_DMA_DisableFifoMode(DMA2, LL_DMA_STREAM_2);

  TIM_InitStruct.Prescaler = 0;
  TIM_InitStruct.CounterMode = LL_TIM_COUNTERMODE_UP;
  TIM_InitStruct.Autoreload = 3809;
  TIM_InitStruct.ClockDivision = LL_TIM_CLOCKDIVISION_DIV1;
  TIM_InitStruct.RepetitionCounter = 0;
  LL_TIM_Init(TIM1, &TIM_InitStruct);
  LL_TIM_SetClockSource(TIM1, LL_TIM_CLOCKSOURCE_INTERNAL);
  LL_TIM_OC_EnablePreload(TIM1, LL_TIM_CHANNEL_CH1);
  TIM_OC_InitStruct.OCMode = LL_TIM_OCMODE_PWM1;
  TIM_OC_InitStruct.OCState = LL_TIM_OCSTATE_DISABLE;
  TIM_OC_InitStruct.OCNState = LL_TIM_OCSTATE_DISABLE;
  TIM_OC_InitStruct.CompareValue = 0;
  TIM_OC_InitStruct.OCPolarity = LL_TIM_OCPOLARITY_HIGH;
  TIM_OC_InitStruct.OCNPolarity = LL_TIM_OCPOLARITY_HIGH;
  TIM_OC_InitStruct.OCIdleState = LL_TIM_OCIDLESTATE_LOW;
  TIM_OC_InitStruct.OCNIdleState = LL_TIM_OCIDLESTATE_LOW;
  LL_TIM_OC_Init(TIM1, LL_TIM_CHANNEL_CH1, &TIM_OC_InitStruct);
  LL_TIM_OC_DisableFast(TIM1, LL_TIM_CHANNEL_CH1);
  LL_TIM_OC_EnablePreload(TIM1, LL_TIM_CHANNEL_CH2);
  TIM_OC_InitStruct.OCState = LL_TIM_OCSTATE_DISABLE;
  TIM_OC_InitStruct.OCNState = LL_TIM_OCSTATE_DISABLE;
  LL_TIM_OC_Init(TIM1, LL_TIM_CHANNEL_CH2, &TIM_OC_InitStruct);
  LL_TIM_OC_DisableFast(TIM1, LL_TIM_CHANNEL_CH2);
  LL_TIM_OC_EnablePreload(TIM1, LL_TIM_CHANNEL_CH3);
  TIM_OC_InitStruct.OCState = LL_TIM_OCSTATE_DISABLE;
  TIM_OC_InitStruct.OCNState = LL_TIM_OCSTATE_DISABLE;
  LL_TIM_OC_Init(TIM1, LL_TIM_CHANNEL_CH3, &TIM_OC_InitStruct);
  LL_TIM_OC_DisableFast(TIM1, LL_TIM_CHANNEL_CH3);
  LL_TIM_SetTriggerOutput(TIM1, LL_TIM_TRGO_RESET);
  LL_TIM_DisableMasterSlaveMode(TIM1);
  TIM_BDTRInitStruct.OSSRState = LL_TIM_OSSR_DISABLE;
  TIM_BDTRInitStruct.OSSIState = LL_TIM_OSSI_DISABLE;
  TIM_BDTRInitStruct.LockLevel = LL_TIM_LOCKLEVEL_OFF;
  TIM_BDTRInitStruct.DeadTime = 0;
  TIM_BDTRInitStruct.BreakState = LL_TIM_BREAK_DISABLE;
  TIM_BDTRInitStruct.BreakPolarity = LL_TIM_BREAK_POLARITY_HIGH;
  TIM_BDTRInitStruct.AutomaticOutput = LL_TIM_AUTOMATICOUTPUT_DISABLE;
  LL_TIM_BDTR_Init(TIM1, &TIM_BDTRInitStruct);
  LL_AHB1_GRP1_EnableClock(LL_AHB1_GRP1_PERIPH_GPIOA);
  /**TIM1 GPIO Configuration
  PA8   ------> TIM1_CH1
  PA9   ------> TIM1_CH2
  PA10   ------> TIM1_CH3
  */
  GPIO_InitStruct.Pin = LL_GPIO_PIN_8|LL_GPIO_PIN_9|LL_GPIO_PIN_10;
  GPIO_InitStruct.Mode = LL_GPIO_MODE_ALTERNATE;
  GPIO_InitStruct.Speed = LL_GPIO_SPEED_FREQ_LOW;
  GPIO_InitStruct.OutputType = LL_GPIO_OUTPUT_PUSHPULL;
  GPIO_InitStruct.Pull = LL_GPIO_PULL_NO;
  GPIO_InitStruct.Alternate = LL_GPIO_AF_1;
  LL_GPIO_Init(GPIOA, &GPIO_InitStruct);

}

static void MX_TIM3_Init(void)
{

  TIM_ClockConfigTypeDef sClockSourceConfig = {0};
  TIM_MasterConfigTypeDef sMasterConfig = {0};
  TIM_OC_InitTypeDef sConfigOC = {0};

  htim3.Instance = TIM3;
  htim3.Init.Prescaler = 84-1;
  htim3.Init.CounterMode = TIM_COUNTERMODE_UP;
  htim3.Init.Period = 1000-1;
  htim3.Init.ClockDivision = TIM_CLOCKDIVISION_DIV1;
  if (HAL_TIM_Base_Init(&htim3) != HAL_OK)
  {
    Error_Handler();
  }
  sClockSourceConfig.ClockSource = TIM_CLOCKSOURCE_INTERNAL;
  if (HAL_TIM_ConfigClockSource(&htim3, &sClockSourceConfig) != HAL_OK)
  {
    Error_Handler();
  }
  if (HAL_TIM_PWM_Init(&htim3) != HAL_OK)
  {
    Error_Handler();
  }
  sMasterConfig.MasterOutputTrigger = TIM_TRGO_RESET;
  sMasterConfig.MasterSlaveMode = TIM_MASTERSLAVEMODE_DISABLE;
  if (HAL_TIMEx_MasterConfigSynchronization(&htim3, &sMasterConfig) != HAL_OK)
  {
    Error_Handler();
  }
  sConfigOC.OCMode = TIM_OCMODE_PWM1;
  sConfigOC.Pulse = 500-1;
  sConfigOC.OCPolarity = TIM_OCPOLARITY_HIGH;
  sConfigOC.OCFastMode = TIM_OCFAST_DISABLE;
  if (HAL_TIM_PWM_ConfigChannel(&htim3, &sConfigOC, TIM_CHANNEL_4) != HAL_OK)
  {
    Error_Handler();
  }
  HAL_TIM_MspPostInit(&htim3);

}

static void MX_USART2_UART_Init(void)
{

  huart2.Instance = USART2;
  huart2.Init.BaudRate = 115200;
  huart2.Init.WordLength = UART_WORDLENGTH_8B;
  huart2.Init.StopBits = UART_STOPBITS_1;
  huart2.Init.Parity = UART_PARITY_NONE;
  huart2.Init.Mode = UART_MODE_TX_RX;
  huart2.Init.HwFlowCtl = UART_HWCONTROL_NONE;
  huart2.Init.OverSampling = UART_OVERSAMPLING_16;
  if (HAL_UART_Init(&huart2) != HAL_OK)
  {
    Error_Handler();
  }

}

static void MX_DMA_Init(void)
{
  /* DMA controller clock enable */
  __HAL_RCC_DMA2_CLK_ENABLE();

}

static void MX_GPIO_Init(void)
{
  GPIO_InitTypeDef GPIO_InitStruct = {0};

  /* GPIO Ports Clock Enable */
  __HAL_RCC_GPIOE_CLK_ENABLE();
  __HAL_RCC_GPIOC_CLK_ENABLE();
  __HAL_RCC_GPIOH_CLK_ENABLE();
  __HAL_RCC_GPIOA_CLK_ENABLE();
  __HAL_RCC_GPIOB_CLK_ENABLE();
  __HAL_RCC_GPIOD_CLK_ENABLE();

  /*Configure GPIO pin Output Level */
  HAL_GPIO_WritePin(GPIOC, KSCAN_ADDR0_Pin|KSCAN_ADDR1_Pin|KSCAN_ADDR2_Pin|KSCAN_ADDR3_Pin, GPIO_PIN_SET);

  /*Configure GPIO pin Output Level */
  HAL_GPIO_WritePin(GPIOA, LED1_Pin|LED2_Pin, GPIO_PIN_RESET);

  /*Configure GPIO pin Output Level */
  HAL_GPIO_WritePin(GPIOB, FLASH_CS_Pin|NRF_CE_Pin|NRF_CS_Pin, GPIO_PIN_RESET);

  /*Configure GPIO pin Output Level */
  HAL_GPIO_WritePin(TOUCH_CS_GPIO_Port, TOUCH_CS_Pin, GPIO_PIN_SET);

  /*Configure GPIO pins : KEY1_Pin KEY0_Pin */
  GPIO_InitStruct.Pin = KEY1_Pin|KEY0_Pin;
  GPIO_InitStruct.Mode = GPIO_MODE_IT_FALLING;
  GPIO_InitStruct.Pull = GPIO_PULLUP;
  HAL_GPIO_Init(GPIOE, &GPIO_InitStruct);

  /*Configure GPIO pins : KSCAN_ADDR0_Pin KSCAN_ADDR1_Pin KSCAN_ADDR2_Pin KSCAN_ADDR3_Pin */
  GPIO_InitStruct.Pin = KSCAN_ADDR0_Pin|KSCAN_ADDR1_Pin|KSCAN_ADDR2_Pin|KSCAN_ADDR3_Pin;
  GPIO_InitStruct.Mode = GPIO_MODE_OUTPUT_PP;
  GPIO_InitStruct.Pull = GPIO_NOPULL;
  GPIO_InitStruct.Speed = GPIO_SPEED_FREQ_LOW;
  HAL_GPIO_Init(GPIOC, &GPIO_InitStruct);

  /*Configure GPIO pin : PIN_WKUP_Pin */
  GPIO_InitStruct.Pin = PIN_WKUP_Pin;
  GPIO_InitStruct.Mode = GPIO_MODE_IT_RISING;
  GPIO_InitStruct.Pull = GPIO_PULLDOWN;
  HAL_GPIO_Init(PIN_WKUP_GPIO_Port, &GPIO_InitStruct);

  /*Configure GPIO pins : LED1_Pin LED2_Pin */
  GPIO_InitStruct.Pin = LED1_Pin|LED2_Pin;
  GPIO_InitStruct.Mode = GPIO_MODE_OUTPUT_OD;
  GPIO_InitStruct.Pull = GPIO_NOPULL;
  GPIO_InitStruct.Speed = GPIO_SPEED_FREQ_LOW;
  HAL_GPIO_Init(GPIOA, &GPIO_InitStruct);

  /*Configure GPIO pin : JY_KEY_Pin */
  GPIO_InitStruct.Pin = JY_KEY_Pin;
  GPIO_InitStruct.Mode = GPIO_MODE_INPUT;
  GPIO_InitStruct.Pull = GPIO_PULLUP;
  HAL_GPIO_Init(JY_KEY_GPIO_Port, &GPIO_InitStruct);

  /*Configure GPIO pin : T_PEN_Pin */
  GPIO_InitStruct.Pin = T_PEN_Pin;
  GPIO_InitStruct.Mode = GPIO_MODE_IT_FALLING;
  GPIO_InitStruct.Pull = GPIO_PULLUP;
  HAL_GPIO_Init(T_PEN_GPIO_Port, &GPIO_InitStruct);

  /*Configure GPIO pins : FLASH_CS_Pin NRF_CE_Pin NRF_CS_Pin */
  GPIO_InitStruct.Pin = FLASH_CS_Pin|NRF_CE_Pin|NRF_CS_Pin;
  GPIO_InitStruct.Mode = GPIO_MODE_OUTPUT_PP;
  GPIO_InitStruct.Pull = GPIO_NOPULL;
  GPIO_InitStruct.Speed = GPIO_SPEED_FREQ_LOW;
  HAL_GPIO_Init(GPIOB, &GPIO_InitStruct);

  /*Configure GPIO pin : TOUCH_CS_Pin */
  GPIO_InitStruct.Pin = TOUCH_CS_Pin;
  GPIO_InitStruct.Mode = GPIO_MODE_OUTPUT_PP;
  GPIO_InitStruct.Pull = GPIO_NOPULL;
  GPIO_InitStruct.Speed = GPIO_SPEED_FREQ_VERY_HIGH;
  HAL_GPIO_Init(TOUCH_CS_GPIO_Port, &GPIO_InitStruct);

  /*Configure GPIO pin : NRF_IRQ_Pin */
  GPIO_InitStruct.Pin = NRF_IRQ_Pin;
  GPIO_InitStruct.Mode = GPIO_MODE_IT_FALLING;
  GPIO_InitStruct.Pull = GPIO_PULLUP;
  HAL_GPIO_Init(NRF_IRQ_GPIO_Port, &GPIO_InitStruct);

  /* EXTI interrupt init*/
  HAL_NVIC_SetPriority(EXTI0_IRQn, 0, 0);
  HAL_NVIC_EnableIRQ(EXTI0_IRQn);

  HAL_NVIC_SetPriority(EXTI3_IRQn, 0, 0);
  HAL_NVIC_EnableIRQ(EXTI3_IRQn);

  HAL_NVIC_SetPriority(EXTI4_IRQn, 0, 0);
  HAL_NVIC_EnableIRQ(EXTI4_IRQn);

  HAL_NVIC_SetPriority(EXTI9_5_IRQn, 0, 0);
  HAL_NVIC_EnableIRQ(EXTI9_5_IRQn);

}

/* FSMC initialization function */
static void MX_FSMC_Init(void)
{
  FSMC_NORSRAM_TimingTypeDef Timing;
  FSMC_NORSRAM_TimingTypeDef ExtTiming;

  /** Perform the SRAM1 memory initialization sequence
  */
  hsram1.Instance = FSMC_NORSRAM_DEVICE;
  hsram1.Extended = FSMC_NORSRAM_EXTENDED_DEVICE;
  /* hsram1.Init */
  hsram1.Init.NSBank = FSMC_NORSRAM_BANK1;
  hsram1.Init.DataAddressMux = FSMC_DATA_ADDRESS_MUX_DISABLE;
  hsram1.Init.MemoryType = FSMC_MEMORY_TYPE_SRAM;
  hsram1.Init.MemoryDataWidth = FSMC_NORSRAM_MEM_BUS_WIDTH_16;
  hsram1.Init.BurstAccessMode = FSMC_BURST_ACCESS_MODE_DISABLE;
  hsram1.Init.WaitSignalPolarity = FSMC_WAIT_SIGNAL_POLARITY_LOW;
  hsram1.Init.WrapMode = FSMC_WRAP_MODE_DISABLE;
  hsram1.Init.WaitSignalActive = FSMC_WAIT_TIMING_BEFORE_WS;
  hsram1.Init.WriteOperation = FSMC_WRITE_OPERATION_ENABLE;
  hsram1.Init.WaitSignal = FSMC_WAIT_SIGNAL_DISABLE;
  hsram1.Init.ExtendedMode = FSMC_EXTENDED_MODE_ENABLE;
  hsram1.Init.AsynchronousWait = FSMC_ASYNCHRONOUS_WAIT_DISABLE;
  hsram1.Init.WriteBurst = FSMC_WRITE_BURST_DISABLE;
  hsram1.Init.PageSize = FSMC_PAGE_SIZE_NONE;
  /* Timing */
  Timing.AddressSetupTime = 1;
  Timing.AddressHoldTime = 15;
  Timing.DataSetupTime = 15;
  Timing.BusTurnAroundDuration = 0;
  Timing.CLKDivision = 16;
  Timing.DataLatency = 17;
  Timing.AccessMode = FSMC_ACCESS_MODE_A;
  /* ExtTiming */
  ExtTiming.AddressSetupTime = 2;
  ExtTiming.AddressHoldTime = 15;
  ExtTiming.DataSetupTime = 5;
  ExtTiming.BusTurnAroundDuration = 0;
  ExtTiming.CLKDivision = 16;
  ExtTiming.DataLatency = 17;
  ExtTiming.AccessMode = FSMC_ACCESS_MODE_A;

  if (HAL_SRAM_Init(&hsram1, &Timing, &ExtTiming) != HAL_OK)
  {
    Error_Handler( );
  }

}

void HAL_TIM_PeriodElapsedCallback(TIM_HandleTypeDef *htim)
{
  if (htim->Instance == TIM2) {
    HAL_IncTick();
  }
}

void Error_Handler(void)
{
}

/************************ (C) COPYRIGHT STMicroelectronics *****END OF FILE****/
